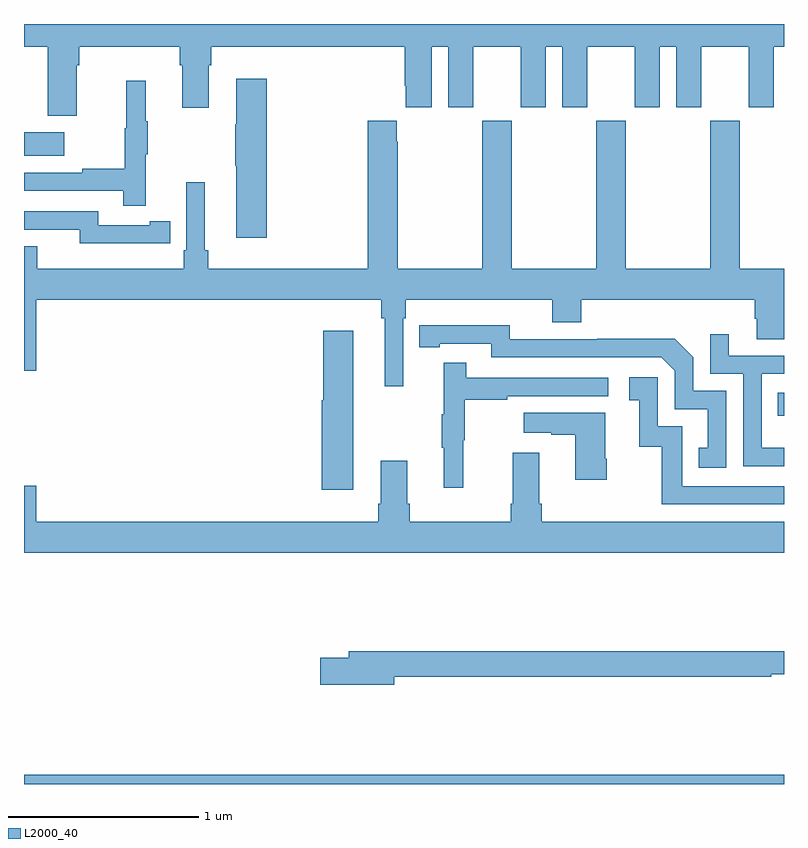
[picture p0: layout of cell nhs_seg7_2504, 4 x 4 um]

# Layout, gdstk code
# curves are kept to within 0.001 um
import gdstk
lib = gdstk.Library(unit=1e-6, precision=1e-09)
def R(c, l, rs):  # rectangles x0, y0, x1, y1
    for r in rs: c.add(gdstk.rectangle(r[:2], r[2:], *l))
def P(c, l, *ps):  # polygons
    for p in ps: c.add(gdstk.Polygon(p, *l))
L2000_40 = (2000, 40)

nhs_seg7_2504 = lib.new_cell('nhs_seg7_2504')
R(nhs_seg7_2504, L2000_40, [(273,1066,277,1066.048), (276.967,1067.937,277,1068.06), (273,1069.307,273.211,1069.429)])
P(nhs_seg7_2504, L2000_40, [(273.277,1069.784),(273.29,1069.784),(273.29,1069.88),(273.821,1069.88),(273.821,1069.784),(273.833,1069.784),(273.833,1069.56),(273.973,1069.56),(273.973,1069.784),(273.986,1069.784),(273.986,1069.88),(275.003,1069.88),(275.003,1069.675),(275.009,1069.675),(275.009,1069.563),(275.146,1069.563),(275.146,1069.88),(275.234,1069.88),(275.234,1069.563),(275.365,1069.563),(275.365,1069.88),(275.615,1069.88),(275.615,1069.563),(275.746,1069.563),(275.746,1069.88),(275.834,1069.88),(275.834,1069.563),(275.965,1069.563),(275.965,1069.88),(276.215,1069.88),(276.215,1069.563),(276.346,1069.563),(276.346,1069.88),(276.434,1069.88),(276.434,1069.563),(276.565,1069.563),(276.565,1069.88),(276.815,1069.88),(276.815,1069.563),(276.946,1069.563),(276.946,1069.88),(277,1069.88),(277,1070),(273,1070),(273,1069.88),(273.125,1069.88),(273.125,1069.518),(273.277,1069.518)],
  [(274.277,1069.711),(274.118,1069.711),(274.118,1069.472),(274.111,1069.472),(274.111,1069.255),(274.118,1069.255),(274.118,1068.876),(274.277,1068.876)],
  [(273.641,1069.315),(273.652,1069.315),(273.652,1069.489),(273.641,1069.489),(273.641,1069.702),(273.538,1069.702),(273.538,1069.452),(273.531,1069.452),(273.531,1069.238),(273.307,1069.238),(273.307,1069.218),(273,1069.218),(273,1069.122),(273.523,1069.122),(273.523,1069.044),(273.641,1069.044)],
  [(275.78,1068.431),(275.933,1068.431),(275.933,1068.548),(276.845,1068.548),(276.845,1068.45),(276.857,1068.45),(276.857,1068.34),(277,1068.34),(277,1068.712),(276.768,1068.712),(276.768,1069.492),(276.613,1069.492),(276.613,1068.712),(276.168,1068.712),(276.168,1069.492),(276.013,1069.492),(276.013,1068.712),(275.568,1068.712),(275.568,1069.492),(275.413,1069.492),(275.413,1068.712),(274.968,1068.712),(274.968,1069.379),(274.963,1069.379),(274.963,1069.492),(274.808,1069.492),(274.808,1068.712),(273.971,1068.712),(273.971,1068.808),(273.952,1068.808),(273.952,1069.168),(273.855,1069.168),(273.855,1068.808),(273.842,1068.808),(273.842,1068.712),(273.07,1068.712),(273.07,1068.829),(273,1068.829),(273,1068.174),(273.064,1068.174),(273.064,1068.548),(274.879,1068.548),(274.879,1068.452),(274.898,1068.452),(274.898,1068.093),(274.995,1068.093),(274.995,1068.452),(275.009,1068.452),(275.009,1068.548),(275.78,1068.548)],
  [(273.662,1068.846),(273.77,1068.846),(273.77,1068.962),(273.662,1068.962),(273.662,1068.942),(273.39,1068.942),(273.39,1069.014),(273,1069.014),(273,1068.918),(273.294,1068.918),(273.294,1068.845),(273.662,1068.845)],
  [(276.696,1068.069),(276.522,1068.069),(276.522,1068.246),(276.424,1068.344),(276.016,1068.344),(276.016,1068.342),(275.556,1068.342),(275.556,1068.415),(275.08,1068.414),(275.08,1068.298),(275.188,1068.298),(275.188,1068.318),(275.46,1068.318),(275.46,1068.246),(276.354,1068.246),(276.426,1068.174),(276.426,1067.973),(276.599,1067.973),(276.599,1067.769),(276.55,1067.769),(276.55,1067.664),(276.696,1067.664)],
  [(274.732,1068.385),(274.574,1068.385),(274.574,1068.021),(274.568,1068.021),(274.568,1067.55),(274.732,1067.55)],
  [(277,1067.77),(276.882,1067.77),(276.882,1068.159),(277,1068.159),(277,1068.255),(276.709,1068.255),(276.709,1068.367),(276.612,1068.367),(276.612,1068.159),(276.786,1068.159),(276.786,1067.673),(277,1067.673)],
  [(275.312,1067.808),(275.32,1067.808),(275.32,1068.022),(275.543,1068.022),(275.543,1068.042),(276.076,1068.042),(276.076,1068.138),(275.327,1068.138),(275.327,1068.217),(275.21,1068.217),(275.21,1067.945),(275.199,1067.945),(275.199,1067.771),(275.21,1067.771),(275.21,1067.559),(275.312,1067.559)],
  [(277,1067.568),(276.465,1067.568),(276.465,1067.883),(276.336,1067.883),(276.336,1068.142),(276.186,1068.142),(276.186,1068.021),(276.239,1068.021),(276.239,1067.775),(276.357,1067.775),(276.357,1067.472),(277,1067.472)],
  [(276.066,1067.713),(276.058,1067.713),(276.058,1067.953),(275.631,1067.953),(275.631,1067.849),(275.774,1067.849),(275.774,1067.839),(275.9,1067.839),(275.9,1067.601),(276.066,1067.601)],
  [(277,1067.38),(275.726,1067.38),(275.726,1067.476),(275.713,1067.476),(275.713,1067.743),(275.573,1067.743),(275.573,1067.476),(275.561,1067.476),(275.561,1067.38),(275.03,1067.38),(275.03,1067.476),(275.017,1067.476),(275.017,1067.701),(274.877,1067.701),(274.877,1067.476),(274.865,1067.476),(274.865,1067.38),(273.064,1067.38),(273.064,1067.569),(273,1067.569),(273,1067.216),(277,1067.216)],
  [(274.948,1066.564),(276.932,1066.564),(276.932,1066.577),(277,1066.577),(277,1066.7),(274.709,1066.7),(274.709,1066.664),(274.56,1066.664),(274.56,1066.522),(274.948,1066.522)])

lib.write_gds('nhs_seg7_2504.gds')
